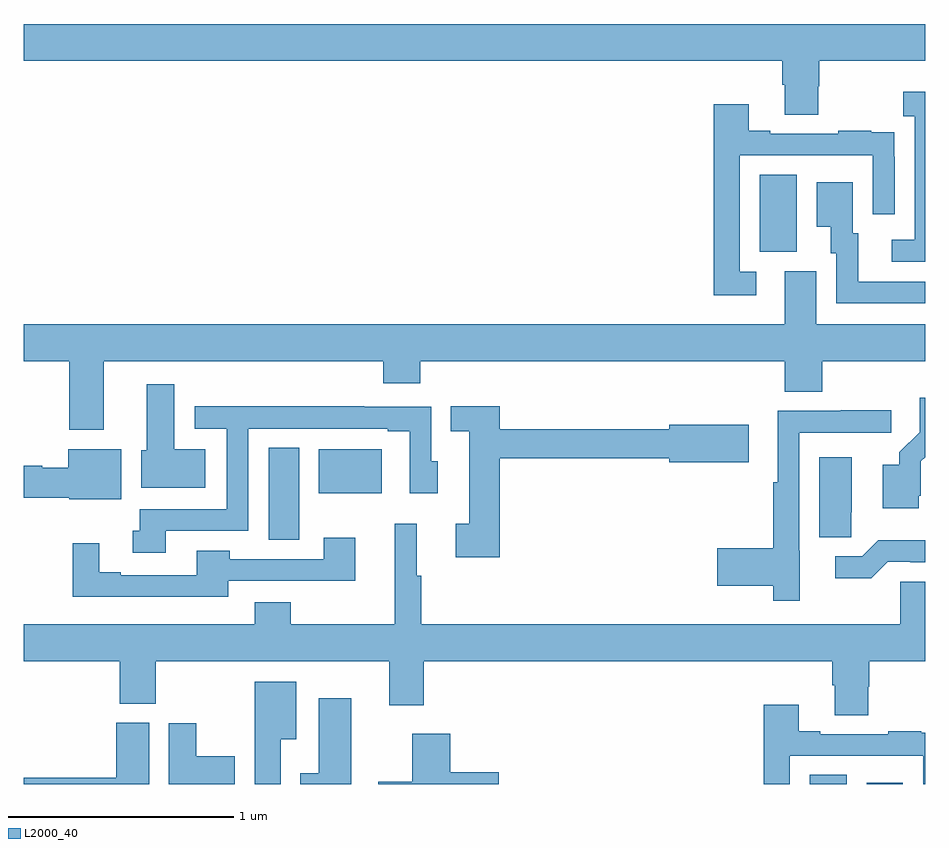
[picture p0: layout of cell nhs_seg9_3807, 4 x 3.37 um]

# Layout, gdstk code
import gdstk
lib = gdstk.Library(unit=1e-6, precision=1e-09)
def R(c, l, rs):  # rectangles x0, y0, x1, y1
    for r in rs: c.add(gdstk.rectangle(r[:2], r[2:], *l))
def P(c, l, *ps):  # polygons
    for p in ps: c.add(gdstk.Polygon(p, *l))
L2000_40 = (2000, 40)

nhs_seg9_3807 = lib.new_cell('nhs_seg9_3807')
R(nhs_seg9_3807, L2000_40, [(330.488,1238.5,330.652,1238.54), (330.74,1238.5,330.901,1238.506), (328.088,1239.583,328.222,1239.992), (328.31,1239.791,328.588,1239.985), (330.266,1240.861,330.43,1241.204)])
P(nhs_seg9_3807, L2000_40, [(330.525,1241.595),(330.53,1241.595),(330.53,1241.708),(331,1241.708),(331,1241.872),(327,1241.872),(327,1241.708),(330.365,1241.708),(330.365,1241.602),(330.377,1241.602),(330.377,1241.47),(330.525,1241.47)],
  [(331,1241.572),(330.903,1241.572),(330.903,1241.462),(330.954,1241.462),(330.954,1240.914),(330.852,1240.914),(330.852,1240.818),(331,1240.818)],
  [(330.25,1240.773),(330.177,1240.773),(330.177,1241.289),(330.768,1241.289),(330.768,1241.028),(330.864,1241.028),(330.864,1241.282),(330.863,1241.282),(330.863,1241.391),(330.761,1241.391),(330.761,1241.398),(330.613,1241.398),(330.613,1241.385),(330.313,1241.385),(330.313,1241.398),(330.217,1241.398),(330.217,1241.515),(330.061,1241.515),(330.061,1240.668),(330.25,1240.668)],
  [(331,1240.728),(330.703,1240.728),(330.703,1240.944),(330.679,1240.944),(330.679,1241.17),(330.518,1241.17),(330.518,1240.973),(330.581,1240.973),(330.581,1240.854),(330.606,1240.854),(330.606,1240.632),(331,1240.632)],
  [(327.355,1240.376),(328.595,1240.376),(328.595,1240.277),(328.76,1240.277),(328.76,1240.376),(330.377,1240.376),(330.377,1240.24),(330.542,1240.24),(330.542,1240.376),(331,1240.376),(331,1240.54),(330.517,1240.54),(330.517,1240.776),(330.377,1240.776),(330.377,1240.54),(327,1240.54),(327,1240.376),(327.203,1240.376),(327.203,1240.071),(327.355,1240.071)],
  [(327.805,1239.985),(327.667,1239.985),(327.667,1240.273),(327.545,1240.273),(327.545,1239.981),(327.521,1239.981),(327.521,1239.815),(327.805,1239.815)],
  [(330.97,1239.78),(330.981,1239.78),(330.981,1239.931),(331,1239.95),(331,1240.213),(330.975,1240.213),(330.975,1240.061),(330.884,1239.971),(330.884,1239.916),(330.812,1239.916),(330.812,1239.723),(330.97,1239.723)],
  [(329.111,1239.946),(329.864,1239.946),(329.864,1239.928),(330.217,1239.928),(330.217,1240.093),(329.864,1240.093),(329.864,1240.075),(329.111,1240.075),(329.111,1240.175),(328.894,1240.175),(328.894,1240.065),(328.976,1240.065),(328.976,1239.654),(328.917,1239.654),(328.917,1239.506),(329.111,1239.506)],
  [(327.631,1239.624),(327.996,1239.624),(327.996,1240.077),(328.616,1240.077),(328.616,1240.065),(328.713,1240.065),(328.713,1239.789),(328.837,1239.789),(328.837,1239.933),(328.809,1239.933),(328.809,1240.173),(328.511,1240.173),(328.511,1240.175),(327.759,1240.175),(327.759,1240.077),(327.9,1240.077),(327.9,1239.72),(327.514,1239.72),(327.514,1239.623),(327.483,1239.623),(327.483,1239.525),(327.631,1239.525)],
  [(330.442,1239.534),(330.441,1239.534),(330.441,1240.059),(330.85,1240.059),(330.85,1240.158),(330.625,1240.158),(330.625,1240.155),(330.345,1240.155),(330.345,1239.839),(330.325,1239.839),(330.325,1239.546),(330.078,1239.546),(330.078,1239.38),(330.325,1239.38),(330.325,1239.312),(330.442,1239.312)],
  [(327.433,1239.985),(327.197,1239.985),(327.197,1239.904),(327.083,1239.904),(327.083,1239.912),(327,1239.912),(327,1239.77),(327.201,1239.77),(327.201,1239.764),(327.433,1239.764)],
  [(330.672,1239.706),(330.673,1239.706),(330.673,1239.949),(330.53,1239.949),(330.53,1239.595),(330.672,1239.595)],
  [(330.747,1238.931),(330.752,1238.931),(330.752,1239.044),(331,1239.044),(331,1239.398),(330.888,1239.398),(330.888,1239.208),(328.763,1239.208),(328.763,1239.423),(328.744,1239.423),(328.744,1239.655),(328.646,1239.655),(328.646,1239.208),(328.185,1239.208),(328.185,1239.307),(328.025,1239.307),(328.025,1239.208),(327,1239.208),(327,1239.044),(327.425,1239.044),(327.425,1238.857),(327.585,1238.857),(327.585,1239.044),(328.622,1239.044),(328.622,1238.85),(328.775,1238.85),(328.775,1239.044),(330.587,1239.044),(330.587,1238.938),(330.599,1238.938),(330.599,1238.806),(330.747,1238.806)],
  [(327.907,1239.402),(328.471,1239.402),(328.471,1239.592),(328.331,1239.592),(328.331,1239.498),(327.915,1239.498),(327.915,1239.535),(327.767,1239.535),(327.767,1239.426),(327.43,1239.426),(327.43,1239.439),(327.334,1239.439),(327.334,1239.568),(327.217,1239.568),(327.217,1239.33),(327.907,1239.33)],
  [(330.834,1239.486),(330.934,1239.486),(330.934,1239.483),(331,1239.483),(331,1239.581),(330.791,1239.581),(330.72,1239.51),(330.6,1239.51),(330.6,1239.413),(330.761,1239.413)],
  [(328.141,1238.699),(328.21,1238.699),(328.21,1238.953),(328.025,1238.953),(328.025,1238.5),(328.141,1238.5)],
  [(328.453,1238.881),(328.31,1238.881),(328.31,1238.548),(328.226,1238.548),(328.226,1238.5),(328.453,1238.5)],
  [(330.399,1238.625),(330.99,1238.625),(330.99,1238.5),(331,1238.5),(331,1238.727),(330.983,1238.727),(330.983,1238.734),(330.835,1238.734),(330.835,1238.721),(330.535,1238.721),(330.535,1238.734),(330.439,1238.734),(330.439,1238.851),(330.283,1238.851),(330.283,1238.5),(330.399,1238.5)],
  [(327.556,1238.772),(327.41,1238.772),(327.41,1238.528),(327,1238.528),(327,1238.5),(327.556,1238.5)],
  [(327.937,1238.623),(327.766,1238.623),(327.766,1238.77),(327.644,1238.77),(327.644,1238.5),(327.937,1238.5)],
  [(329.107,1238.552),(328.892,1238.552),(328.892,1238.722),(328.724,1238.722),(328.724,1238.511),(328.572,1238.511),(328.572,1238.5),(329.107,1238.5)])

lib.write_gds('nhs_seg9_3807.gds')
